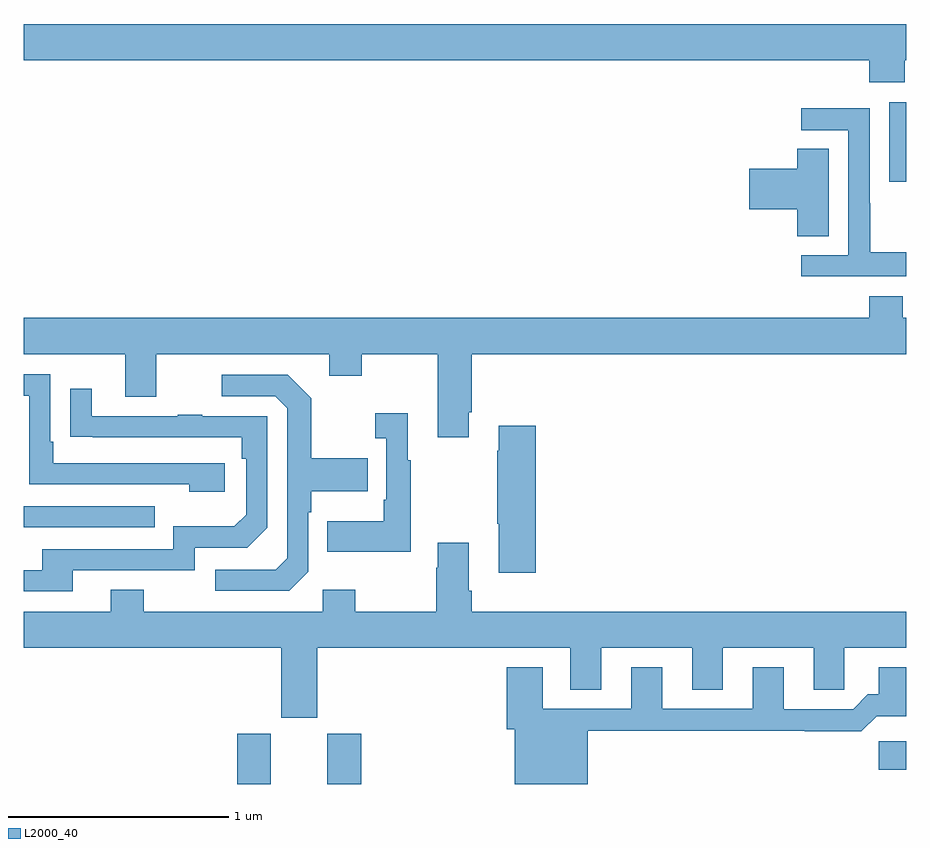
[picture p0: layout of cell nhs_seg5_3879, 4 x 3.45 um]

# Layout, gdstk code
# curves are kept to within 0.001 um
import gdstk
lib = gdstk.Library(unit=1e-6, precision=1e-09)
def R(c, l, rs):  # rectangles x0, y0, x1, y1
    for r in rs: c.add(gdstk.rectangle(r[:2], r[2:], *l))
def P(c, l, *ps):  # polygons
    for p in ps: c.add(gdstk.Polygon(p, *l))
L2000_40 = (2000, 40)

nhs_seg5_3879 = lib.new_cell('nhs_seg5_3879')
R(nhs_seg5_3879, L2000_40, [(339.968,866.799,340.12,867.027), (340.376,866.799,340.529,867.027), (342.876,866.864,343,866.993), (339,867.963,339.593,868.059), (342.923,869.529,343,869.89)])
P(nhs_seg5_3879, L2000_40, [(342.993,870.08),(343,870.08),(343,870.244),(339,870.244),(339,870.08),(342.833,870.08),(342.833,869.981),(342.993,869.981)],
  [(343,869.209),(342.837,869.209),(342.837,869.432),(342.834,869.432),(342.834,869.862),(342.525,869.862),(342.525,869.763),(342.738,869.763),(342.738,869.196),(342.525,869.196),(342.525,869.1),(343,869.1)],
  [(342.649,869.678),(342.506,869.678),(342.506,869.588),(342.288,869.588),(342.288,869.405),(342.506,869.405),(342.506,869.281),(342.649,869.281)],
  [(341.017,868.483),(341.03,868.483),(341.03,868.748),(343,868.748),(343,868.912),(342.985,868.912),(342.985,869.011),(342.833,869.011),(342.833,868.912),(339,868.912),(339,868.748),(339.461,868.748),(339.461,868.554),(339.601,868.554),(339.601,868.748),(340.385,868.748),(340.385,868.649),(340.533,868.649),(340.533,868.748),(340.877,868.748),(340.877,868.371),(341.017,868.371)],
  [(339.91,868.254),(339.133,868.254),(339.133,868.351),(339.12,868.351),(339.12,868.656),(339,868.656),(339,868.56),(339.024,868.56),(339.024,868.158),(339.749,868.158),(339.749,868.124),(339.91,868.124)],
  [(340.29,867.762),(340.29,868.031),(340.303,868.031),(340.303,868.127),(340.559,868.127),(340.559,868.275),(340.303,868.275),(340.303,868.547),(340.197,868.653),(339.897,868.653),(339.897,868.557),(340.14,868.557),(340.194,868.503),(340.194,867.822),(340.143,867.771),(339.867,867.771),(339.867,867.675),(340.203,867.675)],
  [(339.223,867.768),(339.774,867.768),(339.774,867.87),(340.014,867.87),(340.104,867.96),(340.104,868.467),(339.809,868.467),(339.809,868.472),(339.697,868.472),(339.697,868.467),(339.307,868.467),(339.307,868.591),(339.211,868.591),(339.211,868.372),(339.988,868.371),(339.988,868.274),(340.008,868.274),(340.008,868.02),(339.955,867.967),(339.678,867.967),(339.678,867.864),(339.083,867.864),(339.083,867.768),(339,867.768),(339,867.672),(339.223,867.672)],
  [(340.753,868.267),(340.741,868.267),(340.741,868.48),(340.593,868.48),(340.593,868.367),(340.644,868.367),(340.644,868.087),(340.632,868.087),(340.632,867.991),(340.375,867.991),(340.375,867.851),(340.753,867.851)],
  [(341.321,868.423),(341.153,868.423),(341.153,868.31),(341.146,868.31),(341.146,867.979),(341.153,867.979),(341.153,867.756),(341.321,867.756)],
  [(340.33,867.416),(341.477,867.416),(341.477,867.226),(341.617,867.226),(341.617,867.416),(342.029,867.416),(342.029,867.226),(342.169,867.226),(342.169,867.416),(342.581,867.416),(342.581,867.226),(342.72,867.226),(342.72,867.416),(343,867.416),(343,867.58),(341.03,867.58),(341.03,867.676),(341.017,867.676),(341.017,867.892),(340.877,867.892),(340.877,867.779),(340.87,867.779),(340.87,867.58),(340.503,867.58),(340.503,867.679),(340.356,867.679),(340.356,867.58),(339.543,867.58),(339.543,867.679),(339.395,867.679),(339.395,867.58),(339,867.58),(339,867.416),(340.166,867.416),(340.166,867.099),(340.33,867.099)],
  [(341.557,867.04),(342.541,867.04),(342.541,867.038),(342.797,867.038),(342.866,867.107),(343,867.107),(343,867.328),(342.875,867.328),(342.875,867.205),(342.826,867.205),(342.759,867.138),(342.445,867.138),(342.445,867.328),(342.305,867.328),(342.305,867.141),(341.893,867.141),(341.893,867.328),(341.753,867.328),(341.753,867.141),(341.353,867.141),(341.353,867.328),(341.189,867.328),(341.189,867.048),(341.225,867.048),(341.225,866.799),(341.557,866.799)])

lib.write_gds('nhs_seg5_3879.gds')
